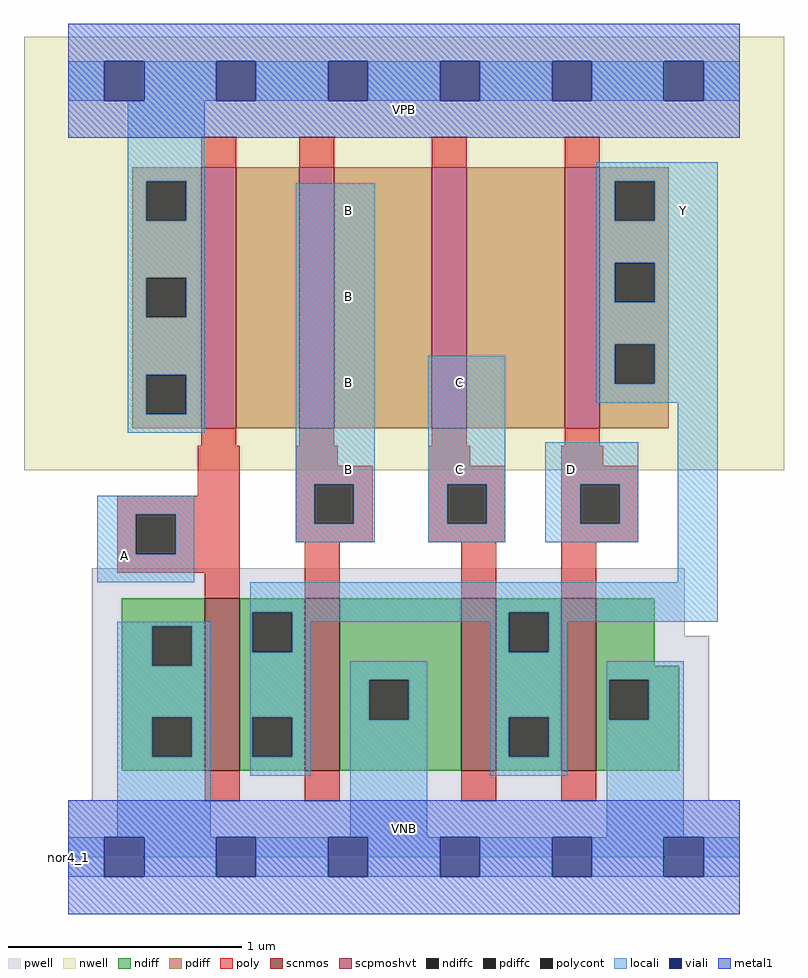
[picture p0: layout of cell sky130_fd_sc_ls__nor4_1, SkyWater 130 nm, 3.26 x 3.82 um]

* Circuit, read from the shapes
.subckt sky130_fd_sc_ls__nor4_1 A B C D VGND VNB VPB VPWR Y
XM1 Y A VGND VNB sky130_fd_pr__nfet_01v8 w=0.74 l=0.15
XM2 VGND B Y VNB sky130_fd_pr__nfet_01v8 w=0.74 l=0.15
XM3 Y C VGND VNB sky130_fd_pr__nfet_01v8 w=0.74 l=0.15
XM4 VGND D Y VNB sky130_fd_pr__nfet_01v8 w=0.74 l=0.15
XM5 n1 A VPWR VPB sky130_fd_pr__pfet_01v8_hvt w=1.12 l=0.15
XM6 n2 B n1 VPB sky130_fd_pr__pfet_01v8_hvt w=1.12 l=0.15
XM7 n3 C n2 VPB sky130_fd_pr__pfet_01v8_hvt w=1.12 l=0.15
XM8 Y D n3 VPB sky130_fd_pr__pfet_01v8_hvt w=1.12 l=0.15
.ends

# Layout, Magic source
magic
tech sky130A
magscale 1 2
<< nwell >>
rect -38 332 614 704
<< pwell >>
rect 20 190 529 248
rect 20 49 550 190
rect 0 0 576 49
<< scnmos >>
rect 117 74 147 222
rect 203 74 233 222
rect 337 74 367 222
rect 423 74 453 222
<< scpmoshvt >>
rect 114 368 144 592
rect 198 368 228 592
rect 312 368 342 592
rect 426 368 456 592
<< ndiff >>
rect 46 198 117 222
rect 46 164 72 198
rect 106 164 117 198
rect 46 120 117 164
rect 46 86 72 120
rect 106 86 117 120
rect 46 74 117 86
rect 147 210 203 222
rect 147 176 158 210
rect 192 176 203 210
rect 147 120 203 176
rect 147 86 158 120
rect 192 86 203 120
rect 147 74 203 86
rect 233 152 337 222
rect 233 118 258 152
rect 292 118 337 152
rect 233 74 337 118
rect 367 210 423 222
rect 367 176 378 210
rect 412 176 423 210
rect 367 120 423 176
rect 367 86 378 120
rect 412 86 423 120
rect 367 74 423 86
rect 453 164 503 222
rect 453 152 524 164
rect 453 118 464 152
rect 498 118 524 152
rect 453 74 524 118
<< pdiff >>
rect 55 580 114 592
rect 55 546 67 580
rect 101 546 114 580
rect 55 497 114 546
rect 55 463 67 497
rect 101 463 114 497
rect 55 414 114 463
rect 55 380 67 414
rect 101 380 114 414
rect 55 368 114 380
rect 144 368 198 592
rect 228 368 312 592
rect 342 368 426 592
rect 456 580 515 592
rect 456 546 469 580
rect 503 546 515 580
rect 456 510 515 546
rect 456 476 469 510
rect 503 476 515 510
rect 456 440 515 476
rect 456 406 469 440
rect 503 406 515 440
rect 456 368 515 406
<< ndiffc >>
rect 72 164 106 198
rect 72 86 106 120
rect 158 176 192 210
rect 158 86 192 120
rect 258 118 292 152
rect 378 176 412 210
rect 378 86 412 120
rect 464 118 498 152
<< pdiffc >>
rect 67 546 101 580
rect 67 463 101 497
rect 67 380 101 414
rect 469 546 503 580
rect 469 476 503 510
rect 469 406 503 440
<< poly >>
rect 114 592 144 618
rect 198 592 228 618
rect 312 592 342 618
rect 426 592 456 618
rect 114 353 144 368
rect 198 353 228 368
rect 312 353 342 368
rect 426 353 456 368
rect 111 310 147 353
rect 42 294 147 310
rect 42 260 58 294
rect 92 260 147 294
rect 195 336 231 353
rect 309 336 345 353
rect 423 336 459 353
rect 195 320 261 336
rect 195 286 211 320
rect 245 286 261 320
rect 195 270 261 286
rect 309 320 375 336
rect 309 286 325 320
rect 359 286 375 320
rect 309 270 375 286
rect 423 320 489 336
rect 423 286 439 320
rect 473 286 489 320
rect 423 270 489 286
rect 42 244 147 260
rect 117 222 147 244
rect 203 222 233 270
rect 337 222 367 270
rect 423 222 453 270
rect 117 48 147 74
rect 203 48 233 74
rect 337 48 367 74
rect 423 48 453 74
<< polycont >>
rect 58 260 92 294
rect 211 286 245 320
rect 325 286 359 320
rect 439 286 473 320
<< locali >>
rect 0 649 31 683
rect 65 649 127 683
rect 161 649 223 683
rect 257 649 319 683
rect 353 649 415 683
rect 449 649 511 683
rect 545 649 576 683
rect 51 580 117 649
rect 51 546 67 580
rect 101 546 117 580
rect 453 580 557 596
rect 51 497 117 546
rect 51 463 67 497
rect 101 463 117 497
rect 51 414 117 463
rect 51 380 67 414
rect 101 380 117 414
rect 51 364 117 380
rect 195 320 263 578
rect 453 546 469 580
rect 503 546 557 580
rect 453 510 557 546
rect 453 476 469 510
rect 503 476 557 510
rect 453 440 557 476
rect 25 294 108 310
rect 25 260 58 294
rect 92 260 108 294
rect 195 286 211 320
rect 245 286 263 320
rect 195 270 263 286
rect 309 320 375 430
rect 453 406 469 440
rect 503 406 557 440
rect 453 390 557 406
rect 309 286 325 320
rect 359 286 375 320
rect 309 270 375 286
rect 409 320 489 356
rect 409 286 439 320
rect 473 286 489 320
rect 409 270 489 286
rect 25 236 108 260
rect 523 236 557 390
rect 156 210 557 236
rect 42 198 122 202
rect 42 164 72 198
rect 106 164 122 198
rect 42 120 122 164
rect 42 86 72 120
rect 106 86 122 120
rect 42 17 122 86
rect 156 176 158 210
rect 192 202 378 210
rect 192 176 208 202
rect 156 120 208 176
rect 362 176 378 202
rect 412 202 557 210
rect 412 176 428 202
rect 156 86 158 120
rect 192 86 208 120
rect 156 70 208 86
rect 242 152 308 168
rect 242 118 258 152
rect 292 118 308 152
rect 242 17 308 118
rect 362 120 428 176
rect 362 86 378 120
rect 412 86 428 120
rect 362 70 428 86
rect 462 152 528 168
rect 462 118 464 152
rect 498 118 528 152
rect 462 17 528 118
rect 0 -17 31 17
rect 65 -17 127 17
rect 161 -17 223 17
rect 257 -17 319 17
rect 353 -17 415 17
rect 449 -17 511 17
rect 545 -17 576 17
<< viali >>
rect 31 649 65 683
rect 127 649 161 683
rect 223 649 257 683
rect 319 649 353 683
rect 415 649 449 683
rect 511 649 545 683
rect 31 -17 65 17
rect 127 -17 161 17
rect 223 -17 257 17
rect 319 -17 353 17
rect 415 -17 449 17
rect 511 -17 545 17
<< metal1 >>
rect 0 683 576 715
rect 0 649 31 683
rect 65 649 127 683
rect 161 649 223 683
rect 257 649 319 683
rect 353 649 415 683
rect 449 649 511 683
rect 545 649 576 683
rect 0 617 576 649
rect 0 17 576 49
rect 0 -17 31 17
rect 65 -17 127 17
rect 161 -17 223 17
rect 257 -17 319 17
rect 353 -17 415 17
rect 449 -17 511 17
rect 545 -17 576 17
rect 0 -49 576 -17
<< labels >>
rlabel comment s 0 0 0 0 4 nor4_1
flabel pwell s 0 0 576 49 0 FreeSans 200 0 0 0 VNB
port 6 nsew ground bidirectional
flabel nwell s 0 617 576 666 0 FreeSans 200 0 0 0 VPB
port 7 nsew power bidirectional
flabel metal1 s 0 617 576 666 0 FreeSans 340 0 0 0 VPWR
port 8 nsew power bidirectional abutment
flabel metal1 s 0 0 576 49 0 FreeSans 340 0 0 0 VGND
port 5 nsew ground bidirectional abutment
flabel locali s 511 538 545 572 0 FreeSans 340 0 0 0 Y
port 9 nsew signal output
flabel locali s 415 316 449 350 0 FreeSans 340 0 0 0 D
port 4 nsew signal input
flabel locali s 319 316 353 350 0 FreeSans 340 0 0 0 C
port 3 nsew signal input
flabel locali s 319 390 353 424 0 FreeSans 340 0 0 0 C
port 3 nsew signal input
flabel locali s 223 316 257 350 0 FreeSans 340 0 0 0 B
port 2 nsew signal input
flabel locali s 223 390 257 424 0 FreeSans 340 0 0 0 B
port 2 nsew signal input
flabel locali s 223 464 257 498 0 FreeSans 340 0 0 0 B
port 2 nsew signal input
flabel locali s 223 538 257 572 0 FreeSans 340 0 0 0 B
port 2 nsew signal input
flabel locali s 31 242 65 276 0 FreeSans 340 0 0 0 A
port 1 nsew signal input
<< properties >>
string LEFsite unit
string LEFclass CORE
string FIXED_BBOX 0 0 576 666
string GDS_FILE $PDKPATH/libs.ref/sky130_fd_sc_ls/gds/sky130_fd_sc_ls.gds
string LEFsymmetry X Y
string GDS_END 2016906
string GDS_START 2011296
<< end >>
